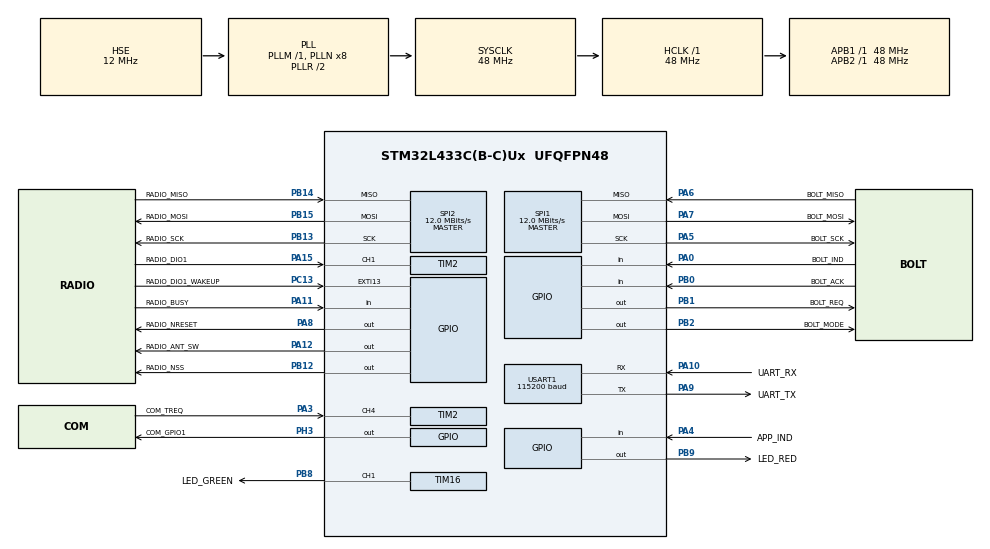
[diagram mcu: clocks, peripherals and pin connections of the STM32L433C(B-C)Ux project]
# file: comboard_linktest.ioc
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Dma.Request0=USART1_RX
Dma.Request1=USART1_TX
Dma.USART1_RX.0.Direction=DMA_PERIPH_TO_MEMORY
Dma.USART1_RX.0.Instance=DMA1_Channel5
Dma.USART1_RX.0.MemDataAlignment=DMA_MDATAALIGN_BYTE
Dma.USART1_RX.0.MemInc=DMA_MINC_ENABLE
Dma.USART1_RX.0.Mode=DMA_CIRCULAR
Dma.USART1_RX.0.PeriphDataAlignment=DMA_PDATAALIGN_BYTE
Dma.USART1_RX.0.PeriphInc=DMA_PINC_DISABLE
Dma.USART1_RX.0.Priority=DMA_PRIORITY_MEDIUM
Dma.USART1_TX.1.Direction=DMA_MEMORY_TO_PERIPH
Dma.USART1_TX.1.Instance=DMA1_Channel4
Dma.USART1_TX.1.MemDataAlignment=DMA_MDATAALIGN_BYTE
Dma.USART1_TX.1.MemInc=DMA_MINC_ENABLE
Dma.USART1_TX.1.Mode=DMA_NORMAL
Dma.USART1_TX.1.PeriphDataAlignment=DMA_PDATAALIGN_BYTE
Dma.USART1_TX.1.PeriphInc=DMA_PINC_DISABLE
Dma.USART1_TX.1.Priority=DMA_PRIORITY_MEDIUM
FREERTOS.INCLUDE_vTaskDelayUntil=1
FREERTOS.INCLUDE_vTaskDelete=0
FREERTOS.MEMORY_ALLOCATION=2
FREERTOS.Tasks01=defaultTask,0,256,StartDefaultTask,Default,NULL,Dynamic,NULL,NULL
FREERTOS.configCHECK_FOR_STACK_OVERFLOW=1
FREERTOS.configMINIMAL_STACK_SIZE=256
FREERTOS.configTICK_RATE_HZ=1000
FREERTOS.configTOTAL_HEAP_SIZE=16384
FREERTOS.configUSE_IDLE_HOOK=1
FREERTOS.configUSE_MALLOC_FAILED_HOOK=1
FREERTOS.configUSE_PREEMPTION=0
FREERTOS.configUSE_TICKLESS_IDLE=1
FREERTOS.configUSE_TICK_HOOK=0
FREERTOS.configUSE_TRACE_FACILITY=1
Mcu.Family=STM32L4
Mcu.Name=STM32L433C(B-C)Ux
Mcu.Package=UFQFPN48
NVIC.DMA1_Channel4_IRQn=true\:5\:0\:true\:false\:true\:true\:false\:true
NVIC.DMA1_Channel5_IRQn=true\:5\:0\:true\:false\:true\:true\:false\:true
NVIC.EXTI15_10_IRQn=true\:5\:0\:false\:false\:true\:true\:true\:true
NVIC.LPTIM1_IRQn=true\:5\:0\:false\:false\:true\:true\:true\:true
NVIC.PriorityGroup=NVIC_PRIORITYGROUP_4
NVIC.SPI1_IRQn=true\:5\:0\:false\:false\:true\:true\:true\:true
NVIC.SPI2_IRQn=true\:5\:0\:false\:false\:true\:true\:true\:true
NVIC.TIM1_UP_TIM16_IRQn=true\:0\:0\:false\:false\:true\:false\:false\:true
NVIC.TIM2_IRQn=true\:5\:0\:true\:false\:true\:true\:true\:true
NVIC.TimeBase=TIM1_UP_TIM16_IRQn
NVIC.TimeBaseIP=TIM1
NVIC.USART1_IRQn=true\:5\:0\:false\:false\:true\:true\:true\:true
PA0.GPIO_Label=BOLT_IND
PA0.Signal=GPIO_Input
PA10.GPIO_Label=UART_RX
PA10.Mode=Asynchronous
PA10.Signal=USART1_RX
PA11.GPIO_Label=RADIO_BUSY
PA11.Signal=GPIO_Input
PA12.GPIO_Label=RADIO_ANT_SW
PA12.GPIO_Speed=GPIO_SPEED_FREQ_HIGH
PA12.PinState=GPIO_PIN_SET
PA12.Signal=GPIO_Output
PA13\ (JTMS-SWDIO).GPIO_Label=COM_PROG2
PA13\ (JTMS-SWDIO).Mode=Trace_Asynchronous_SW
PA13\ (JTMS-SWDIO).Signal=SYS_JTMS-SWDIO
PA14\ (JTCK-SWCLK).GPIO_Label=COM_PROG
PA14\ (JTCK-SWCLK).Mode=Trace_Asynchronous_SW
PA14\ (JTCK-SWCLK).Signal=SYS_JTCK-SWCLK
PA15\ (JTDI).GPIO_Label=RADIO_DIO1
PA15\ (JTDI).Signal=S_TIM2_CH1
PA3.GPIO_Label=COM_TREQ
PA3.GPIO_PuPd=GPIO_PULLDOWN
PA3.Signal=S_TIM2_CH4
PA4.GPIO_Label=APP_IND
PA4.GPIO_PuPd=GPIO_NOPULL
PA4.Signal=GPIO_Input
PA5.GPIO_Label=BOLT_SCK
PA5.GPIO_PuPd=GPIO_PULLDOWN
PA5.Mode=Full_Duplex_Master
PA5.Signal=SPI1_SCK
PA6.GPIO_Label=BOLT_MISO
PA6.GPIO_PuPd=GPIO_PULLDOWN
PA6.Mode=Full_Duplex_Master
PA6.Signal=SPI1_MISO
PA7.GPIO_Label=BOLT_MOSI
PA7.GPIO_PuPd=GPIO_PULLDOWN
PA7.Mode=Full_Duplex_Master
PA7.Signal=SPI1_MOSI
PA8.GPIO_Label=RADIO_NRESET
PA8.GPIO_ModeDefaultOutputPP=GPIO_MODE_OUTPUT_PP
PA8.GPIO_PuPd=GPIO_PULLUP
PA8.GPIO_Speed=GPIO_SPEED_FREQ_HIGH
PA8.PinState=GPIO_PIN_SET
PA8.Signal=GPIO_Output
PA9.GPIO_Label=UART_TX
PA9.Mode=Asynchronous
PA9.Signal=USART1_TX
PB0.GPIO_Label=BOLT_ACK
PB0.GPIO_PuPd=GPIO_NOPULL
PB0.Signal=GPIO_Input
PB1.GPIO_Label=BOLT_REQ
PB1.GPIO_PuPd=GPIO_PULLDOWN
PB1.GPIO_Speed=GPIO_SPEED_FREQ_VERY_HIGH
PB1.Signal=GPIO_Output
PB12.GPIO_Label=RADIO_NSS
PB12.GPIO_PuPd=GPIO_PULLUP
PB12.GPIO_Speed=GPIO_SPEED_FREQ_VERY_HIGH
PB12.PinState=GPIO_PIN_SET
PB12.Signal=GPIO_Output
PB13.GPIO_Label=RADIO_SCK
PB13.GPIO_PuPd=GPIO_PULLDOWN
PB13.Mode=Full_Duplex_Master
PB13.Signal=SPI2_SCK
PB14.GPIO_Label=RADIO_MISO
PB14.GPIO_PuPd=GPIO_PULLDOWN
PB14.Mode=Full_Duplex_Master
PB14.Signal=SPI2_MISO
PB15.GPIO_Label=RADIO_MOSI
PB15.GPIO_PuPd=GPIO_PULLDOWN
PB15.Mode=Full_Duplex_Master
PB15.Signal=SPI2_MOSI
PB2.GPIO_Label=BOLT_MODE
PB2.GPIO_PuPd=GPIO_PULLDOWN
PB2.GPIO_Speed=GPIO_SPEED_FREQ_VERY_HIGH
PB2.Signal=GPIO_Output
PB3\ (JTDO-TRACESWO).GPIO_Label=COM_GPIO2
PB3\ (JTDO-TRACESWO).Mode=Trace_Asynchronous_SW
PB3\ (JTDO-TRACESWO).Signal=SYS_JTDO-SWO
PB8.GPIO_Label=LED_GREEN
PB8.Signal=S_TIM16_CH1
PB9.GPIO_Label=LED_RED
PB9.Signal=GPIO_Output
PC13.GPIO_Label=RADIO_DIO1_WAKEUP
PC13.Signal=GPXTI13
PC14-OSC32_IN\ (PC14).Mode=LSE-External-Oscillator
PC14-OSC32_IN\ (PC14).Signal=RCC_OSC32_IN
PC15-OSC32_OUT\ (PC15).Mode=LSE-External-Oscillator
PC15-OSC32_OUT\ (PC15).Signal=RCC_OSC32_OUT
PH0-OSC_IN\ (PH0).Mode=HSE-External-Oscillator
PH0-OSC_IN\ (PH0).Signal=RCC_OSC_IN
PH1-OSC_OUT\ (PH1).Mode=HSE-External-Oscillator
PH1-OSC_OUT\ (PH1).Signal=RCC_OSC_OUT
PH3-BOOT0.GPIO_Label=COM_GPIO1
PH3-BOOT0.Signal=GPIO_Output
ProjectManager.HeapSize=0x200
ProjectManager.StackSize=0x400
ProjectManager.TargetToolchain=STM32CubeIDE
RCC.ADCFreq_Value=48000000
RCC.AHBFreq_Value=48000000
RCC.APB1Freq_Value=48000000
RCC.APB1TimFreq_Value=48000000
RCC.APB2Freq_Value=48000000
RCC.APB2TimFreq_Value=48000000
RCC.CortexFreq_Value=48000000
RCC.HCLKFreq_Value=48000000
RCC.HSE_Timout=300
RCC.HSE_VALUE=12000000
RCC.HSI48_VALUE=48000000
RCC.HSI_VALUE=16000000
RCC.LPTIM1CLockSelection=RCC_LPTIM1CLKSOURCE_LSE
RCC.LSE_Drive_Capability=RCC_LSEDRIVE_LOW
RCC.MSI_VALUE=4000000
RCC.PLLSourceVirtual=RCC_PLLSOURCE_HSE
RCC.PREFETCH_ENABLE=0
RCC.RTCClockSelection=RCC_RTCCLKSOURCE_LSE
RCC.SYSCLKFreq_VALUE=48000000
RCC.SYSCLKSource=RCC_SYSCLKSOURCE_PLLCLK
RCC.USART1CLockSelection=RCC_USART1CLKSOURCE_HSI
RCC.USBFreq_Value=48000000
RCC.VCOOutputFreq_Value=96000000
RCC.VDD_VALUE=3
SH.S_TIM16_CH1.0=TIM16_CH1,PWM Generation1 CH1
SH.S_TIM2_CH1.0=TIM2_CH1,Input_Capture1_from_TI1
SH.S_TIM2_CH4.0=TIM2_CH4,Input_Capture4_from_TI4
SPI1.BaudRatePrescaler=SPI_BAUDRATEPRESCALER_4
SPI1.CalculateBaudRate=12.0 MBits/s
SPI1.DataSize=SPI_DATASIZE_8BIT
SPI1.Direction=SPI_DIRECTION_2LINES
SPI1.Mode=SPI_MODE_MASTER
SPI1.VirtualType=VM_MASTER
SPI2.BaudRatePrescaler=SPI_BAUDRATEPRESCALER_4
SPI2.CalculateBaudRate=12.0 MBits/s
SPI2.DataSize=SPI_DATASIZE_8BIT
SPI2.Direction=SPI_DIRECTION_2LINES
SPI2.Mode=SPI_MODE_MASTER
SPI2.VirtualType=VM_MASTER
TIM15.Channel-Output\ Compare1\ No\ Output=TIM_CHANNEL_1
TIM15.Channel-Output\ Compare2\ No\ Output=TIM_CHANNEL_2
TIM16.AutoReloadPreload=TIM_AUTORELOAD_PRELOAD_ENABLE
TIM16.Channel=TIM_CHANNEL_1
TIM16.OCIdleState_1=TIM_OCIDLESTATE_RESET
TIM16.Period=1024
TIM16.Prescaler=2 - 1
TIM2.Channel-Input_Capture1_from_TI1=TIM_CHANNEL_1
TIM2.Channel-Input_Capture4_from_TI4=TIM_CHANNEL_4
TIM2.Channel-Output\ Compare2\ No\ Output=TIM_CHANNEL_2
TIM2.Channel-Output\ Compare3\ No\ Output=TIM_CHANNEL_3
TIM2.Period=0xFFFFFFFF
TIM2.Prescaler=5
TIM2.Pulse-Output\ Compare2\ No\ Output=0xFFFFFFFF
TIM2.Pulse-Output\ Compare3\ No\ Output=0xFFFFFFFF
USART1.BaudRate=115200
USART1.SwapParam=ADVFEATURE_SWAP_DISABLE
USART1.VirtualMode-Asynchronous=VM_ASYNC
USART1.WordLength=WORDLENGTH_8B
VP_FREERTOS_VS_CMSIS_V1.Mode=CMSIS_V1
VP_LPTIM1_VS_LPTIM_counterModeInternalClock.Mode=Counts__internal_clock_event_00
VP_RTC_VS_RTC_Activate.Mode=RTC_Enabled
VP_SYS_VS_tim1.Mode=TIM1
VP_TIM15_VS_no_output1.Mode=Output Compare1 No Output
VP_TIM15_VS_no_output2.Mode=Output Compare2 No Output
VP_TIM16_VS_ClockSourceINT.Mode=Enable_Timer
VP_TIM2_VS_ClockSourceINT.Mode=Internal
VP_TIM2_VS_no_output2.Mode=Output Compare2 No Output
VP_TIM2_VS_no_output3.Mode=Output Compare3 No Output
board=gloriaLwb_comboard

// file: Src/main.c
/* USER CODE BEGIN Header */
/**
  ******************************************************************************
  * @file           : main.c
  * @brief          : Main program body
  ******************************************************************************
  * @attention
  *
  * <h2><center>&copy; Copyright (c) 2019 STMicroelectronics.
  * All rights reserved.</center></h2>
  *
  * This software component is licensed by ST under Ultimate Liberty license
  * SLA0044, the "License"; You may not use this file except in compliance with
  * the License. You may obtain a copy of the License at:
  *                             www.st.com/SLA0044
  *
  ******************************************************************************
  */
/* USER CODE END Header */

#include "main.h"
#include "cmsis_os.h"

LPTIM_HandleTypeDef hlptim1;

RTC_HandleTypeDef hrtc;

SPI_HandleTypeDef hspi1;
SPI_HandleTypeDef hspi2;

TIM_HandleTypeDef htim2;
TIM_HandleTypeDef htim15;
TIM_HandleTypeDef htim16;

UART_HandleTypeDef huart1;
DMA_HandleTypeDef hdma_usart1_rx;
DMA_HandleTypeDef hdma_usart1_tx;

osThreadId defaultTaskHandle;
/* USER CODE BEGIN PV */
extern bool hs_timer_initialized;
extern uint32_t hs_timer_counter_extension;
extern bool tim15_initialized;
extern uint16_t counter_extension_tim15;
extern bool tim5_initialized;
extern uint32_t counter_extension_tim5;

char debug_print_buffer[256];

/* USER CODE END PV */

void SystemClock_Config(void);
static void MX_GPIO_Init(void);
static void MX_DMA_Init(void);
static void MX_SPI2_Init(void);
static void MX_SPI1_Init(void);
static void MX_USART1_UART_Init(void);
static void MX_TIM2_Init(void);
static void MX_TIM16_Init(void);
static void MX_TIM15_Init(void);
static void MX_LPTIM1_Init(void);
static void MX_RTC_Init(void);
void StartDefaultTask(void const * argument);

int main(void)
{
  /* USER CODE BEGIN 1 */

  system_boot();

  /* USER CODE END 1 */

  /* MCU Configuration--------------------------------------------------------*/

  /* Reset of all peripherals, Initializes the Flash interface and the Systick. */
  HAL_Init();

  /* Configure the system clock */
  SystemClock_Config();

  /* Initialize all configured peripherals */
  MX_GPIO_Init();
  MX_DMA_Init();
  MX_SPI2_Init();
  MX_SPI1_Init();
  MX_USART1_UART_Init();
  MX_TIM2_Init();
  MX_TIM16_Init();
  MX_TIM15_Init();
  MX_LPTIM1_Init();
  MX_RTC_Init();
  /* USER CODE BEGIN 2 */

  system_init();

  /* USER CODE END 2 */

  /* Create the thread(s) */
  /* definition and creation of defaultTask */
  osThreadDef(defaultTask, StartDefaultTask, osPriorityNormal, 0, 256);
  defaultTaskHandle = osThreadCreate(osThread(defaultTask), NULL);

  /* USER CODE BEGIN RTOS_THREADS */
  /* FreeRTOS tasks, queues, etc. */
  RTOS_Init();

  /* USER CODE END RTOS_THREADS */

  /* Start scheduler */
  osKernelStart();

  /* We should never get here as control is now taken by the scheduler */

  /* Infinite loop */
  while (1)
  {
  }

}

void SystemClock_Config(void)
{
  RCC_OscInitTypeDef RCC_OscInitStruct = {0};
  RCC_ClkInitTypeDef RCC_ClkInitStruct = {0};
  RCC_PeriphCLKInitTypeDef PeriphClkInit = {0};

  /** Configure LSE Drive Capability
  */
  HAL_PWR_EnableBkUpAccess();
  __HAL_RCC_LSEDRIVE_CONFIG(RCC_LSEDRIVE_LOW);
  /** Initializes the CPU, AHB and APB busses clocks
  */
  RCC_OscInitStruct.OscillatorType = RCC_OSCILLATORTYPE_HSI|RCC_OSCILLATORTYPE_HSE
                              |RCC_OSCILLATORTYPE_LSE;
  RCC_OscInitStruct.HSEState = RCC_HSE_ON;
  RCC_OscInitStruct.LSEState = RCC_LSE_ON;
  RCC_OscInitStruct.HSIState = RCC_HSI_ON;
  RCC_OscInitStruct.HSICalibrationValue = RCC_HSICALIBRATION_DEFAULT;
  RCC_OscInitStruct.PLL.PLLState = RCC_PLL_ON;
  RCC_OscInitStruct.PLL.PLLSource = RCC_PLLSOURCE_HSE;
  RCC_OscInitStruct.PLL.PLLM = 1;
  RCC_OscInitStruct.PLL.PLLN = 8;
  RCC_OscInitStruct.PLL.PLLP = RCC_PLLP_DIV7;
  RCC_OscInitStruct.PLL.PLLQ = RCC_PLLQ_DIV2;
  RCC_OscInitStruct.PLL.PLLR = RCC_PLLR_DIV2;
  if (HAL_RCC_OscConfig(&RCC_OscInitStruct) != HAL_OK)
  {
    Error_Handler();
  }
  /** Initializes the CPU, AHB and APB busses clocks
  */
  RCC_ClkInitStruct.ClockType = RCC_CLOCKTYPE_HCLK|RCC_CLOCKTYPE_SYSCLK
                              |RCC_CLOCKTYPE_PCLK1|RCC_CLOCKTYPE_PCLK2;
  RCC_ClkInitStruct.SYSCLKSource = RCC_SYSCLKSOURCE_PLLCLK;
  RCC_ClkInitStruct.AHBCLKDivider = RCC_SYSCLK_DIV1;
  RCC_ClkInitStruct.APB1CLKDivider = RCC_HCLK_DIV1;
  RCC_ClkInitStruct.APB2CLKDivider = RCC_HCLK_DIV1;

  if (HAL_RCC_ClockConfig(&RCC_ClkInitStruct, FLASH_LATENCY_2) != HAL_OK)
  {
    Error_Handler();
  }
  PeriphClkInit.PeriphClockSelection = RCC_PERIPHCLK_RTC|RCC_PERIPHCLK_USART1
                              |RCC_PERIPHCLK_LPTIM1;
  PeriphClkInit.Usart1ClockSelection = RCC_USART1CLKSOURCE_HSI;
  PeriphClkInit.Lptim1ClockSelection = RCC_LPTIM1CLKSOURCE_LSE;
  PeriphClkInit.RTCClockSelection = RCC_RTCCLKSOURCE_LSE;
  if (HAL_RCCEx_PeriphCLKConfig(&PeriphClkInit) != HAL_OK)
  {
    Error_Handler();
  }
  /** Configure the main internal regulator output voltage
  */
  if (HAL_PWREx_ControlVoltageScaling(PWR_REGULATOR_VOLTAGE_SCALE1) != HAL_OK)
  {
    Error_Handler();
  }
}

static void MX_LPTIM1_Init(void)
{

  hlptim1.Instance = LPTIM1;
  hlptim1.Init.Clock.Source = LPTIM_CLOCKSOURCE_APBCLOCK_LPOSC;
  hlptim1.Init.Clock.Prescaler = LPTIM_PRESCALER_DIV1;
  hlptim1.Init.Trigger.Source = LPTIM_TRIGSOURCE_SOFTWARE;
  hlptim1.Init.OutputPolarity = LPTIM_OUTPUTPOLARITY_HIGH;
  hlptim1.Init.UpdateMode = LPTIM_UPDATE_IMMEDIATE;
  hlptim1.Init.CounterSource = LPTIM_COUNTERSOURCE_INTERNAL;
  hlptim1.Init.Input1Source = LPTIM_INPUT1SOURCE_GPIO;
  hlptim1.Init.Input2Source = LPTIM_INPUT2SOURCE_GPIO;
  if (HAL_LPTIM_Init(&hlptim1) != HAL_OK)
  {
    Error_Handler();
  }
  /* USER CODE BEGIN LPTIM1_Init 2 */
  HAL_LPTIM_Counter_Start_IT(&hlptim1, 0xffff);
  /* USER CODE END LPTIM1_Init 2 */

}

static void MX_RTC_Init(void)
{

  /** Initialize RTC Only
  */
  hrtc.Instance = RTC;
  hrtc.Init.HourFormat = RTC_HOURFORMAT_24;
  hrtc.Init.AsynchPrediv = 127;
  hrtc.Init.SynchPrediv = 255;
  hrtc.Init.OutPut = RTC_OUTPUT_DISABLE;
  hrtc.Init.OutPutRemap = RTC_OUTPUT_REMAP_NONE;
  hrtc.Init.OutPutPolarity = RTC_OUTPUT_POLARITY_HIGH;
  hrtc.Init.OutPutType = RTC_OUTPUT_TYPE_OPENDRAIN;
  if (HAL_RTC_Init(&hrtc) != HAL_OK)
  {
    Error_Handler();
  }

}

static void MX_SPI1_Init(void)
{

  /* SPI1 parameter configuration*/
  hspi1.Instance = SPI1;
  hspi1.Init.Mode = SPI_MODE_MASTER;
  hspi1.Init.Direction = SPI_DIRECTION_2LINES;
  hspi1.Init.DataSize = SPI_DATASIZE_8BIT;
  hspi1.Init.CLKPolarity = SPI_POLARITY_LOW;
  hspi1.Init.CLKPhase = SPI_PHASE_1EDGE;
  hspi1.Init.NSS = SPI_NSS_SOFT;
  hspi1.Init.BaudRatePrescaler = SPI_BAUDRATEPRESCALER_4;
  hspi1.Init.FirstBit = SPI_FIRSTBIT_MSB;
  hspi1.Init.TIMode = SPI_TIMODE_DISABLE;
  hspi1.Init.CRCCalculation = SPI_CRCCALCULATION_DISABLE;
  hspi1.Init.CRCPolynomial = 7;
  hspi1.Init.CRCLength = SPI_CRC_LENGTH_DATASIZE;
  hspi1.Init.NSSPMode = SPI_NSS_PULSE_ENABLE;
  if (HAL_SPI_Init(&hspi1) != HAL_OK)
  {
    Error_Handler();
  }

}

static void MX_SPI2_Init(void)
{

  /* SPI2 parameter configuration*/
  hspi2.Instance = SPI2;
  hspi2.Init.Mode = SPI_MODE_MASTER;
  hspi2.Init.Direction = SPI_DIRECTION_2LINES;
  hspi2.Init.DataSize = SPI_DATASIZE_8BIT;
  hspi2.Init.CLKPolarity = SPI_POLARITY_LOW;
  hspi2.Init.CLKPhase = SPI_PHASE_1EDGE;
  hspi2.Init.NSS = SPI_NSS_SOFT;
  hspi2.Init.BaudRatePrescaler = SPI_BAUDRATEPRESCALER_4;
  hspi2.Init.FirstBit = SPI_FIRSTBIT_MSB;
  hspi2.Init.TIMode = SPI_TIMODE_DISABLE;
  hspi2.Init.CRCCalculation = SPI_CRCCALCULATION_DISABLE;
  hspi2.Init.CRCPolynomial = 7;
  hspi2.Init.CRCLength = SPI_CRC_LENGTH_DATASIZE;
  hspi2.Init.NSSPMode = SPI_NSS_PULSE_ENABLE;
  if (HAL_SPI_Init(&hspi2) != HAL_OK)
  {
    Error_Handler();
  }

}

static void MX_TIM2_Init(void)
{

  TIM_ClockConfigTypeDef sClockSourceConfig = {0};
  TIM_MasterConfigTypeDef sMasterConfig = {0};
  TIM_IC_InitTypeDef sConfigIC = {0};
  TIM_OC_InitTypeDef sConfigOC = {0};

  htim2.Instance = TIM2;
  htim2.Init.Prescaler = 5;
  htim2.Init.CounterMode = TIM_COUNTERMODE_UP;
  htim2.Init.Period = 0xFFFFFFFF;
  htim2.Init.ClockDivision = TIM_CLOCKDIVISION_DIV1;
  htim2.Init.AutoReloadPreload = TIM_AUTORELOAD_PRELOAD_DISABLE;
  if (HAL_TIM_Base_Init(&htim2) != HAL_OK)
  {
    Error_Handler();
  }
  sClockSourceConfig.ClockSource = TIM_CLOCKSOURCE_INTERNAL;
  if (HAL_TIM_ConfigClockSource(&htim2, &sClockSourceConfig) != HAL_OK)
  {
    Error_Handler();
  }
  if (HAL_TIM_IC_Init(&htim2) != HAL_OK)
  {
    Error_Handler();
  }
  if (HAL_TIM_OC_Init(&htim2) != HAL_OK)
  {
    Error_Handler();
  }
  sMasterConfig.MasterOutputTrigger = TIM_TRGO_RESET;
  sMasterConfig.MasterSlaveMode = TIM_MASTERSLAVEMODE_DISABLE;
  if (HAL_TIMEx_MasterConfigSynchronization(&htim2, &sMasterConfig) != HAL_OK)
  {
    Error_Handler();
  }
  sConfigIC.ICPolarity = TIM_INPUTCHANNELPOLARITY_RISING;
  sConfigIC.ICSelection = TIM_ICSELECTION_DIRECTTI;
  sConfigIC.ICPrescaler = TIM_ICPSC_DIV1;
  sConfigIC.ICFilter = 0;
  if (HAL_TIM_IC_ConfigChannel(&htim2, &sConfigIC, TIM_CHANNEL_1) != HAL_OK)
  {
    Error_Handler();
  }
  sConfigOC.OCMode = TIM_OCMODE_TIMING;
  sConfigOC.Pulse = 0xFFFFFFFF;
  sConfigOC.OCPolarity = TIM_OCPOLARITY_HIGH;
  sConfigOC.OCFastMode = TIM_OCFAST_DISABLE;
  if (HAL_TIM_OC_ConfigChannel(&htim2, &sConfigOC, TIM_CHANNEL_2) != HAL_OK)
  {
    Error_Handler();
  }
  if (HAL_TIM_OC_ConfigChannel(&htim2, &sConfigOC, TIM_CHANNEL_3) != HAL_OK)
  {
    Error_Handler();
  }
  if (HAL_TIM_IC_ConfigChannel(&htim2, &sConfigIC, TIM_CHANNEL_4) != HAL_OK)
  {
    Error_Handler();
  }

}

static void MX_TIM15_Init(void)
{

  TIM_MasterConfigTypeDef sMasterConfig = {0};
  TIM_OC_InitTypeDef sConfigOC = {0};
  TIM_BreakDeadTimeConfigTypeDef sBreakDeadTimeConfig = {0};

  htim15.Instance = TIM15;
  htim15.Init.Prescaler = 0;
  htim15.Init.CounterMode = TIM_COUNTERMODE_UP;
  htim15.Init.Period = 0;
  htim15.Init.ClockDivision = TIM_CLOCKDIVISION_DIV1;
  htim15.Init.RepetitionCounter = 0;
  htim15.Init.AutoReloadPreload = TIM_AUTORELOAD_PRELOAD_DISABLE;
  if (HAL_TIM_OC_Init(&htim15) != HAL_OK)
  {
    Error_Handler();
  }
  sMasterConfig.MasterOutputTrigger = TIM_TRGO_RESET;
  sMasterConfig.MasterSlaveMode = TIM_MASTERSLAVEMODE_DISABLE;
  if (HAL_TIMEx_MasterConfigSynchronization(&htim15, &sMasterConfig) != HAL_OK)
  {
    Error_Handler();
  }
  sConfigOC.OCMode = TIM_OCMODE_TIMING;
  sConfigOC.Pulse = 0;
  sConfigOC.OCPolarity = TIM_OCPOLARITY_HIGH;
  sConfigOC.OCNPolarity = TIM_OCNPOLARITY_HIGH;
  sConfigOC.OCFastMode = TIM_OCFAST_DISABLE;
  sConfigOC.OCIdleState = TIM_OCIDLESTATE_RESET;
  sConfigOC.OCNIdleState = TIM_OCNIDLESTATE_RESET;
  if (HAL_TIM_OC_ConfigChannel(&htim15, &sConfigOC, TIM_CHANNEL_1) != HAL_OK)
  {
    Error_Handler();
  }
  if (HAL_TIM_OC_ConfigChannel(&htim15, &sConfigOC, TIM_CHANNEL_2) != HAL_OK)
  {
    Error_Handler();
  }
  sBreakDeadTimeConfig.OffStateRunMode = TIM_OSSR_DISABLE;
  sBreakDeadTimeConfig.OffStateIDLEMode = TIM_OSSI_DISABLE;
  sBreakDeadTimeConfig.LockLevel = TIM_LOCKLEVEL_OFF;
  sBreakDeadTimeConfig.DeadTime = 0;
  sBreakDeadTimeConfig.BreakState = TIM_BREAK_DISABLE;
  sBreakDeadTimeConfig.BreakPolarity = TIM_BREAKPOLARITY_HIGH;
  sBreakDeadTimeConfig.AutomaticOutput = TIM_AUTOMATICOUTPUT_DISABLE;
  if (HAL_TIMEx_ConfigBreakDeadTime(&htim15, &sBreakDeadTimeConfig) != HAL_OK)
  {
    Error_Handler();
  }

}

static void MX_TIM16_Init(void)
{

  TIM_OC_InitTypeDef sConfigOC = {0};
  TIM_BreakDeadTimeConfigTypeDef sBreakDeadTimeConfig = {0};

  htim16.Instance = TIM16;
  htim16.Init.Prescaler = 2 - 1;
  htim16.Init.CounterMode = TIM_COUNTERMODE_UP;
  htim16.Init.Period = 1024;
  htim16.Init.ClockDivision = TIM_CLOCKDIVISION_DIV1;
  htim16.Init.RepetitionCounter = 0;
  htim16.Init.AutoReloadPreload = TIM_AUTORELOAD_PRELOAD_ENABLE;
  if (HAL_TIM_Base_Init(&htim16) != HAL_OK)
  {
    Error_Handler();
  }
  if (HAL_TIM_PWM_Init(&htim16) != HAL_OK)
  {
    Error_Handler();
  }
  sConfigOC.OCMode = TIM_OCMODE_PWM1;
  sConfigOC.Pulse = 0;
  sConfigOC.OCPolarity = TIM_OCPOLARITY_HIGH;
  sConfigOC.OCNPolarity = TIM_OCNPOLARITY_HIGH;
  sConfigOC.OCFastMode = TIM_OCFAST_DISABLE;
  sConfigOC.OCIdleState = TIM_OCIDLESTATE_RESET;
  sConfigOC.OCNIdleState = TIM_OCNIDLESTATE_RESET;
  if (HAL_TIM_PWM_ConfigChannel(&htim16, &sConfigOC, TIM_CHANNEL_1) != HAL_OK)
  {
    Error_Handler();
  }
  sBreakDeadTimeConfig.OffStateRunMode = TIM_OSSR_DISABLE;
  sBreakDeadTimeConfig.OffStateIDLEMode = TIM_OSSI_DISABLE;
  sBreakDeadTimeConfig.LockLevel = TIM_LOCKLEVEL_OFF;
  sBreakDeadTimeConfig.DeadTime = 0;
  sBreakDeadTimeConfig.BreakState = TIM_BREAK_DISABLE;
  sBreakDeadTimeConfig.BreakPolarity = TIM_BREAKPOLARITY_HIGH;
  sBreakDeadTimeConfig.AutomaticOutput = TIM_AUTOMATICOUTPUT_DISABLE;
  if (HAL_TIMEx_ConfigBreakDeadTime(&htim16, &sBreakDeadTimeConfig) != HAL_OK)
  {
    Error_Handler();
  }
  HAL_TIM_MspPostInit(&htim16);

}

static void MX_USART1_UART_Init(void)
{

  huart1.Instance = USART1;
  huart1.Init.BaudRate = 115200;
  huart1.Init.WordLength = UART_WORDLENGTH_8B;
  huart1.Init.StopBits = UART_STOPBITS_1;
  huart1.Init.Parity = UART_PARITY_NONE;
  huart1.Init.Mode = UART_MODE_TX_RX;
  huart1.Init.HwFlowCtl = UART_HWCONTROL_NONE;
  huart1.Init.OverSampling = UART_OVERSAMPLING_16;
  huart1.Init.OneBitSampling = UART_ONE_BIT_SAMPLE_DISABLE;
  huart1.AdvancedInit.AdvFeatureInit = UART_ADVFEATURE_NO_INIT;
  if (HAL_UART_Init(&huart1) != HAL_OK)
  {
    Error_Handler();
  }

}

static void MX_DMA_Init(void)
{

  /* DMA controller clock enable */
  __HAL_RCC_DMA1_CLK_ENABLE();

  /* DMA interrupt init */
  /* DMA1_Channel4_IRQn interrupt configuration */
  HAL_NVIC_SetPriority(DMA1_Channel4_IRQn, 5, 0);
  HAL_NVIC_EnableIRQ(DMA1_Channel4_IRQn);
  /* DMA1_Channel5_IRQn interrupt configuration */
  HAL_NVIC_SetPriority(DMA1_Channel5_IRQn, 5, 0);
  HAL_NVIC_EnableIRQ(DMA1_Channel5_IRQn);

}

static void MX_GPIO_Init(void)
{
  GPIO_InitTypeDef GPIO_InitStruct = {0};

  /* GPIO Ports Clock Enable */
  __HAL_RCC_GPIOC_CLK_ENABLE();
  __HAL_RCC_GPIOH_CLK_ENABLE();
  __HAL_RCC_GPIOA_CLK_ENABLE();
  __HAL_RCC_GPIOB_CLK_ENABLE();

  /*Configure GPIO pin Output Level */
  HAL_GPIO_WritePin(GPIOB, BOLT_REQ_Pin|BOLT_MODE_Pin|LED_RED_Pin, GPIO_PIN_RESET);

  /*Configure GPIO pin Output Level */
  HAL_GPIO_WritePin(RADIO_NSS_GPIO_Port, RADIO_NSS_Pin, GPIO_PIN_SET);

  /*Configure GPIO pin Output Level */
  HAL_GPIO_WritePin(GPIOA, RADIO_NRESET_Pin|RADIO_ANT_SW_Pin, GPIO_PIN_SET);

  /*Configure GPIO pin Output Level */
  HAL_GPIO_WritePin(COM_GPIO1_GPIO_Port, COM_GPIO1_Pin, GPIO_PIN_RESET);

  /*Configure GPIO pin : RADIO_DIO1_WAKEUP_Pin */
  GPIO_InitStruct.Pin = RADIO_DIO1_WAKEUP_Pin;
  GPIO_InitStruct.Mode = GPIO_MODE_IT_RISING;
  GPIO_InitStruct.Pull = GPIO_NOPULL;
  HAL_GPIO_Init(RADIO_DIO1_WAKEUP_GPIO_Port, &GPIO_InitStruct);

  /*Configure GPIO pins : BOLT_IND_Pin APP_IND_Pin RADIO_BUSY_Pin */
  GPIO_InitStruct.Pin = BOLT_IND_Pin|APP_IND_Pin|RADIO_BUSY_Pin;
  GPIO_InitStruct.Mode = GPIO_MODE_INPUT;
  GPIO_InitStruct.Pull = GPIO_NOPULL;
  HAL_GPIO_Init(GPIOA, &GPIO_InitStruct);

  /*Configure GPIO pins : PA1 PA2 */
  GPIO_InitStruct.Pin = GPIO_PIN_1|GPIO_PIN_2;
  GPIO_InitStruct.Mode = GPIO_MODE_ANALOG;
  GPIO_InitStruct.Pull = GPIO_NOPULL;
  HAL_GPIO_Init(GPIOA, &GPIO_InitStruct);

  /*Configure GPIO pin : BOLT_ACK_Pin */
  GPIO_InitStruct.Pin = BOLT_ACK_Pin;
  GPIO_InitStruct.Mode = GPIO_MODE_INPUT;
  GPIO_InitStruct.Pull = GPIO_NOPULL;
  HAL_GPIO_Init(BOLT_ACK_GPIO_Port, &GPIO_InitStruct);

  /*Configure GPIO pins : BOLT_REQ_Pin BOLT_MODE_Pin */
  GPIO_InitStruct.Pin = BOLT_REQ_Pin|BOLT_MODE_Pin;
  GPIO_InitStruct.Mode = GPIO_MODE_OUTPUT_PP;
  GPIO_InitStruct.Pull = GPIO_PULLDOWN;
  GPIO_InitStruct.Speed = GPIO_SPEED_FREQ_VERY_HIGH;
  HAL_GPIO_Init(GPIOB, &GPIO_InitStruct);

  /*Configure GPIO pins : PB10 PB11 PB4 PB5
                           PB6 PB7 */
  GPIO_InitStruct.Pin = GPIO_PIN_10|GPIO_PIN_11|GPIO_PIN_4|GPIO_PIN_5
                          |GPIO_PIN_6|GPIO_PIN_7;
  GPIO_InitStruct.Mode = GPIO_MODE_ANALOG;
  GPIO_InitStruct.Pull = GPIO_NOPULL;
  HAL_GPIO_Init(GPIOB, &GPIO_InitStruct);

  /*Configure GPIO pin : RADIO_NSS_Pin */
  GPIO_InitStruct.Pin = RADIO_NSS_Pin;
  GPIO_InitStruct.Mode = GPIO_MODE_OUTPUT_PP;
  GPIO_InitStruct.Pull = GPIO_PULLUP;
  GPIO_InitStruct.Speed = GPIO_SPEED_FREQ_VERY_HIGH;
  HAL_GPIO_Init(RADIO_NSS_GPIO_Port, &GPIO_InitStruct);

  /*Configure GPIO pin : RADIO_NRESET_Pin */
  GPIO_InitStruct.Pin = RADIO_NRESET_Pin;
  GPIO_InitStruct.Mode = GPIO_MODE_OUTPUT_PP;
  GPIO_InitStruct.Pull = GPIO_PULLUP;
  GPIO_InitStruct.Speed = GPIO_SPEED_FREQ_HIGH;
  HAL_GPIO_Init(RADIO_NRESET_GPIO_Port, &GPIO_InitStruct);

  /*Configure GPIO pin : RADIO_ANT_SW_Pin */
  GPIO_InitStruct.Pin = RADIO_ANT_SW_Pin;
  GPIO_InitStruct.Mode = GPIO_MODE_OUTPUT_PP;
  GPIO_InitStruct.Pull = GPIO_NOPULL;
  GPIO_InitStruct.Speed = GPIO_SPEED_FREQ_HIGH;
  HAL_GPIO_Init(RADIO_ANT_SW_GPIO_Port, &GPIO_InitStruct);

  /*Configure GPIO pin : COM_GPIO1_Pin */
  GPIO_InitStruct.Pin = COM_GPIO1_Pin;
  GPIO_InitStruct.Mode = GPIO_MODE_OUTPUT_PP;
  GPIO_InitStruct.Pull = GPIO_NOPULL;
  GPIO_InitStruct.Speed = GPIO_SPEED_FREQ_LOW;
  HAL_GPIO_Init(COM_GPIO1_GPIO_Port, &GPIO_InitStruct);

  /*Configure GPIO pin : LED_RED_Pin */
  GPIO_InitStruct.Pin = LED_RED_Pin;
  GPIO_InitStruct.Mode = GPIO_MODE_OUTPUT_PP;
  GPIO_InitStruct.Pull = GPIO_NOPULL;
  GPIO_InitStruct.Speed = GPIO_SPEED_FREQ_LOW;
  HAL_GPIO_Init(LED_RED_GPIO_Port, &GPIO_InitStruct);

  /* EXTI interrupt init*/
  HAL_NVIC_SetPriority(EXTI15_10_IRQn, 5, 0);
  HAL_NVIC_EnableIRQ(EXTI15_10_IRQn);

}

void StartDefaultTask(void const * argument)
{
  /* USER CODE BEGIN 5 */
  vTaskSuspend(NULL);       // we don't need this task
  /* Infinite loop */
  for(;;)
  {
    osDelay(1);
  }
  /* USER CODE END 5 */
}

void HAL_TIM_PeriodElapsedCallback(TIM_HandleTypeDef *htim)
{
  if (htim->Instance == TIM1) {
    HAL_IncTick();
  }
}

void Error_Handler(void)
{
  /* USER CODE BEGIN Error_Handler_Debug */
  led_on(LED_EVENT);
  while (1);
  /* USER CODE END Error_Handler_Debug */
}

/************************ (C) COPYRIGHT STMicroelectronics *****END OF FILE****/

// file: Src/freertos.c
/* USER CODE BEGIN Header */
/**
  ******************************************************************************
  * File Name          : freertos.c
  * Description        : Code for freertos applications
  ******************************************************************************
  * @attention
  *
  * <h2><center>&copy; Copyright (c) 2019 STMicroelectronics.
  * All rights reserved.</center></h2>
  *
  * This software component is licensed by ST under Ultimate Liberty license
  * SLA0044, the "License"; You may not use this file except in compliance with
  * the License. You may obtain a copy of the License at:
  *                             www.st.com/SLA0044
  *
  ******************************************************************************
  */
/* USER CODE END Header */

#include "FreeRTOS.h"
#include "task.h"
#include "main.h"

/* USER CODE BEGIN Includes */
#include "cmsis_os.h"

/* USER CODE END Includes */

/* USER CODE BEGIN PM */
#ifndef CPU_OFF_IND
#define CPU_OFF_IND()
#define CPU_ON_IND()
#endif /* CPU_OFF_IND */
#ifndef IDLE_TASK_IND
#define IDLE_TASK_IND()
#endif /* IDLE_TASK_IND */
/* USER CODE END PM */

/* USER CODE BEGIN Variables */
/* RTOS Task Handles ---------------------------------------------------------*/
TaskHandle_t xTaskHandle_linktest = NULL;
/* RTOS Queue Handles --------------------------------------------------------*/
/* Variables */
bool     round_finished   = false;
uint64_t active_time      = 0;
uint64_t wakeup_timestamp = 0;

/* USER CODE END Variables */

/* USER CODE BEGIN FunctionPrototypes */
void vTask_linktest(void* argument);

/* USER CODE END FunctionPrototypes */

/* Pre/Post sleep processing prototypes */
void PreSleepProcessing(uint32_t *ulExpectedIdleTime);
void PostSleepProcessing(uint32_t *ulExpectedIdleTime);

/* GetIdleTaskMemory prototype (linked to static allocation support) */
void vApplicationGetIdleTaskMemory( StaticTask_t **ppxIdleTaskTCBBuffer, StackType_t **ppxIdleTaskStackBuffer, uint32_t *pulIdleTaskStackSize );

/* Hook prototypes */
void vApplicationIdleHook(void);
void vApplicationStackOverflowHook(xTaskHandle xTask, signed char *pcTaskName);
void vApplicationMallocFailedHook(void);

/* USER CODE BEGIN 2 */
void vApplicationIdleHook( void )
{
   /* vApplicationIdleHook() will only be called if configUSE_IDLE_HOOK is set
   to 1 in FreeRTOSConfig.h. It will be called on each iteration of the idle
   task. It is essential that code added to this hook function never attempts
   to block in any way (for example, call xQueueReceive() with a block time
   specified, or call vTaskDelay()). If the application makes use of the
   vTaskDelete() API function (as this demo application does) then it is also
   important that vApplicationIdleHook() is permitted to return to its calling
   function, because it is the responsibility of the idle task to clean up
   memory allocated by the kernel to any task that has since been deleted. */

  IDLE_TASK_IND();
  /* if the application ends up in the RESET state, something went wrong -> reset the MCU */

  IDLE_TASK_IND();
}
/* USER CODE END 2 */

/* USER CODE BEGIN 4 */
void vApplicationStackOverflowHook(xTaskHandle xTask, signed char *pcTaskName)
{
   /* Run time stack overflow checking is performed if
   configCHECK_FOR_STACK_OVERFLOW is defined to 1 or 2. This hook function is
   called if a stack overflow is detected. */

  (void)pcTaskName;
  (void)xTask;
  led_on(LED_EVENT);
  taskDISABLE_INTERRUPTS();
  while (1);
}
/* USER CODE END 4 */

/* USER CODE BEGIN 5 */
void vApplicationMallocFailedHook(void)
{
   /* vApplicationMallocFailedHook() will only be called if
   configUSE_MALLOC_FAILED_HOOK is set to 1 in FreeRTOSConfig.h. It is a hook
   function that will get called if a call to pvPortMalloc() fails.
   pvPortMalloc() is called internally by the kernel whenever a task, queue,
   timer or semaphore is created. It is also called by various parts of the
   demo application. If heap_1.c or heap_2.c are used, then the size of the
   heap available to pvPortMalloc() is defined by configTOTAL_HEAP_SIZE in
   FreeRTOSConfig.h, and the xPortGetFreeHeapSize() API function can be used
   to query the size of free heap space that remains (although it does not
   provide information on how the remaining heap might be fragmented). */
  led_on(LED_EVENT);
  while (1);
}
/* USER CODE END 5 */

/* USER CODE BEGIN PREPOSTSLEEP */
void PreSleepProcessing(uint32_t *ulExpectedIdleTime)
{
  /* duty cycle measurement */
  active_time += lptimer_now() - wakeup_timestamp;
  CPU_OFF_IND();
}

void PostSleepProcessing(uint32_t *ulExpectedIdleTime)
{
  CPU_ON_IND();
  wakeup_timestamp = lptimer_now();    /* reset duty cycle timer */
}
/* USER CODE END PREPOSTSLEEP */

/* USER CODE BEGIN GET_IDLE_TASK_MEMORY */
static StaticTask_t xIdleTaskTCBBuffer;
static StackType_t xIdleStack[configMINIMAL_STACK_SIZE];

void vApplicationGetIdleTaskMemory( StaticTask_t **ppxIdleTaskTCBBuffer, StackType_t **ppxIdleTaskStackBuffer, uint32_t *pulIdleTaskStackSize )
{
  *ppxIdleTaskTCBBuffer = &xIdleTaskTCBBuffer;
  *ppxIdleTaskStackBuffer = &xIdleStack[0];
  *pulIdleTaskStackSize = configMINIMAL_STACK_SIZE;
  /* place for user code */
}
/* USER CODE END GET_IDLE_TASK_MEMORY */

/* USER CODE BEGIN Application */
/* RTOS functions ------------------------------------------------------------*/
void RTOS_Init(void)
{
  if(xTaskCreate(vTask_linktest,
          "linktestTask",
          configMINIMAL_STACK_SIZE + 128,
          NULL,
          tskIDLE_PRIORITY + 1,
          &xTaskHandle_linktest) != pdPASS)  { Error_Handler(); }
}

uint32_t RTOS_getDutyCycle(void)
{
  return (uint32_t)((active_time * 10000) / lptimer_now());
}

/* USER CODE END Application */

/************************ (C) COPYRIGHT STMicroelectronics *****END OF FILE****/
